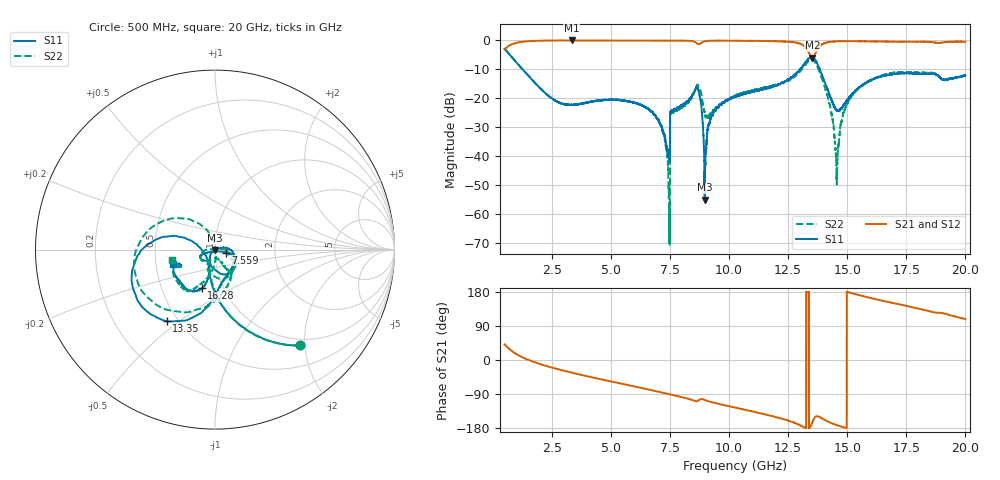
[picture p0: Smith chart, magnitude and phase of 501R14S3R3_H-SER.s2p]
!{501R14S3R3}
!Johanson Technology Inc.
!www.johansontechnology.com
!Test Board Conditions:
!Substrate Type  RO4350B
!Substrate Thickness  20 mil
!Substrate Dk  3.66
!TL Type: GCPW
!TL Trace Width  36 mil
!TL Gap  12 mil
!Electrode orientation  Horizontal
!DUT TOPOLOGY	SERIES
!Mounting Pad LxW  26x36 mil
! Created Wed Mar 11 15:59:12 2020
# mhz S ma R 50
! 2 Port Network Data from SP1.SP block
! freq  magS11  angS11  magS21  angS21  magS12  angS12  magS22  angS22
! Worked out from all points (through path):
!   19501 points, 500 MHz to 20 GHz, reference 50 ohm
!   highest |S21| = -0.05 dB at 3.339 GHz (marker M1); lowest = -6.0 dB at 13.53 GHz (marker M2)
!   group delay of S21, straight-line fit = 36.9 ps
!   lowest |S11| = -55.0 dB at 8.968 GHz (marker M3), VSWR 1.00, Z = 50.1 - j0.149 ohm
!   |S11| at or under -10 dB: 1.256 GHz to 13 GHz (11.74 GHz wide, 165 % of centre); 13.84 GHz to end of sweep
!   |S22| runs from -70.9 to -2.9 dB; largest |S21 - S12| = 0.02
!   S11 on the Smith chart (normalised r, x): 500 MHz: 0.87, -1.90; 7.559 GHz: 1.12, -0.04; 13.35 GHz: 0.43, -0.45; 16.28 GHz: 0.79, -0.36; 20 GHz: 0.61, -0.11
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500  0.7144 -48.4  0.6934 41.2  0.6945 41.2  0.713 -48.5
1415  0.2688 -87.4  0.9586 2.6  0.9585 2.6  0.2692 -86.8
3339  0.07754 -123.5  0.9937 -33.3  0.9909 -33.4  0.0772 -123.4
3750  0.08065 -130.3  0.9906 -39.4  0.9906 -39.4  0.08025 -128.9
7000  0.043 -158.6  0.9922 -83.5  0.9915 -83.6  0.04302 179.7
7299  0.01985 -141.1  0.9909 -87.8  0.9907 -87.8  0.01763 173.6
7403  0.01238 -124.8  0.9913 -89.3  0.9905 -89.2  0.008398 175.7
7559  0.06119 -16.0  0.9884 -91.5  0.9899 -91.5  0.0572 2.5
7598  0.06156 -14.8  0.9892 -92.0  0.9895 -92.0  0.05797 3.3
8644  0.1523 -56.4  0.8798 -108.8  0.8796 -108.8  0.167 -63.6
8968  0.001787 -56.2  0.9624 -105.6  0.9628 -105.6  0.05418 -107.7
9305  0.05149 10.2  0.9827 -111.9  0.9844 -111.9  0.05988 -69.9
10250  0.1073 -13.3  0.9824 -125.5  0.9836 -125.4  0.1101 -60.2
13350  0.4815 -124.0  0.6431 179.2  0.6471 178.9  0.4369 -131.0
13500  0.5165 -146.5  0.5061 -168.3  0.5075 -168.9  0.4649 -159.4
13526  0.5083 -150.6  0.5037 -164.1  0.5033 -164.9  0.4634 -164.9
14212  0.1282 161.4  0.9333 -163.4  0.9314 -163.4  0.09213 109.1
14562  0.0625 -160.5  0.9601 -172.0  0.9609 -171.9  0.004128 -5.7
15027  0.09491 -109.1  0.9676 179.1  0.9697 179.1  0.08416 -93.1
16283  0.2272 -109.0  0.9546 159.4  0.9514 159.3  0.2294 -116.0
16750  0.2532 -114.9  0.9522 152.9  0.9461 152.6  0.2668 -120.4
20000  0.2477 -161.0  0.9456 107.9  0.9448 108.0  0.2466 -166.3
